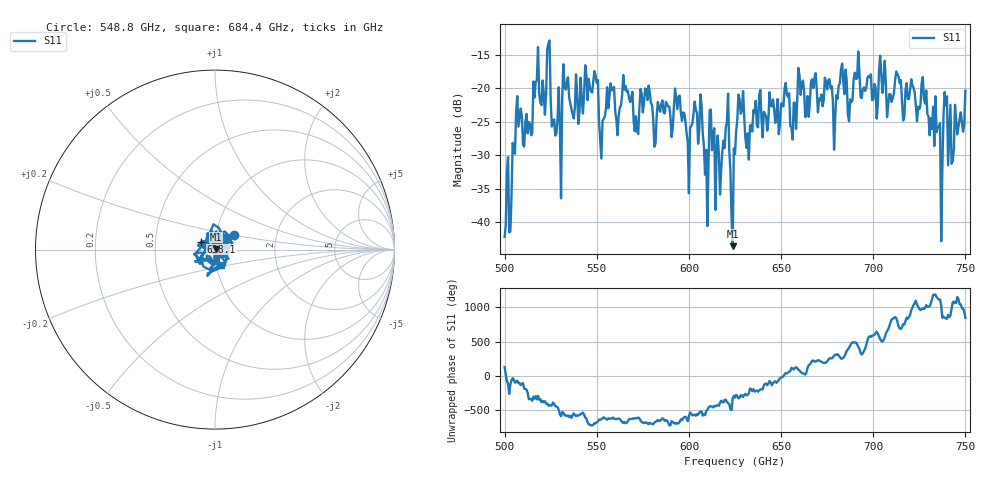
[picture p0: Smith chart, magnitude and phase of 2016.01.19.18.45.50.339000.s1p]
!Created with skrf (http://scikit-rf.org).
# GHz S RI R 50.0
!freq ReS11 ImS11
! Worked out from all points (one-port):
!   401 points, 500 GHz to 750 GHz, reference 50 ohm
!   lowest |S11| = -43.5 dB at 623.8 GHz (marker M1), VSWR 1.01, Z = 50.5 + j0.411 ohm
!   |S11| at or under -10 dB: start of sweep to end of sweep
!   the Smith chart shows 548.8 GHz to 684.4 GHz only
!   S11 on the Smith chart (normalised r, x): 548.8 GHz: 1.23, +0.20; 638.1 GHz: 0.86, +0.08; 684.4 GHz: 1.05, -0.18
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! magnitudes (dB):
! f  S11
! 500 GHz  -42.1
! 507.5 GHz  -25.7
! 513.8 GHz  -25.3
! 516.9 GHz  -19.1
! 531.2 GHz  -21.5
! 548.8 GHz  -17.5
! 552.5 GHz  -30.5
! 562.5 GHz  -22.9
! 593.8 GHz  -23.1
! 599.4 GHz  -28.0
! 606.9 GHz  -22.6
! 609.4 GHz  -29.2
! 620 GHz  -25.9
! 623.8 GHz  -43.5
! 625 GHz  -29.8
! 628.1 GHz  -23.8
! 631.9 GHz  -26.7
! 638.1 GHz  -21.1
! 656.2 GHz  -27.6
! 660.6 GHz  -21.0
! 679.4 GHz  -24.3
! 684.4 GHz  -20.9
! 687.5 GHz  -21.7
! 691.2 GHz  -18.5
! 718.8 GHz  -21.6
! 727.5 GHz  -21.6
! 736.2 GHz  -25.2
! 750 GHz  -20.4
